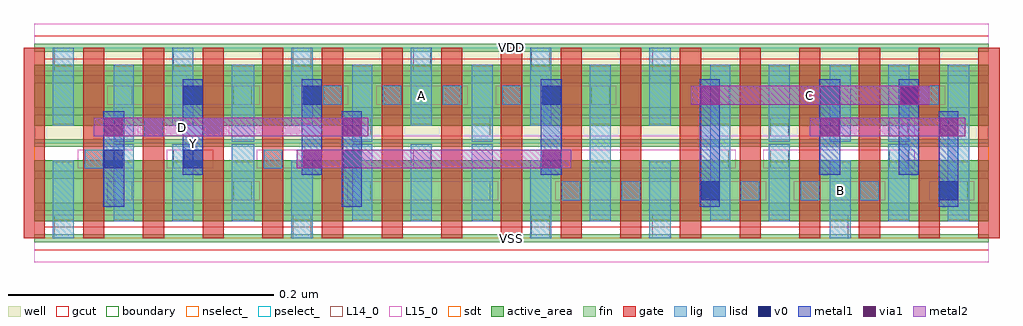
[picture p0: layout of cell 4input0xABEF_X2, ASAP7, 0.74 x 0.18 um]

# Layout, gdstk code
import gdstk
lib = gdstk.Library(unit=1e-6, precision=1e-09)
def R(c, l, rs):  # rectangles x0, y0, x1, y1
    for r in rs: c.add(gdstk.rectangle(r[:2], r[2:], *l))
def A(c, l, x, y, w, h, nx, ny, dx, dy):  # array of equal rectangles
    R(c, l, [(x+i*dx, y+j*dy, x+i*dx+w, y+j*dy+h) for i in range(nx) for j in range(ny)])
def P(c, l, *ps):  # polygons
    for p in ps: c.add(gdstk.Polygon(p, *l))
well = (1, 0)
fin = (2, 0)
gate = (7, 0)
gcut = (10, 0)
active_area = (11, 0)
nselect_ = (12, 0)
pselect_ = (13, 0)
L14_0 = (14, 0)
L15_0 = (15, 0)
lig = (16, 0)
lisd = (17, 0)
v0 = (18, 0)
metal1 = (19, 0)
metal2 = (20, 0)
via1 = (21, 0)
sdt = (88, 0)
boundary = (100, 0)

c_4input0xabef_x2 = lib.new_cell('4input0xABEF_X2')
R(c_4input0xabef_x2, well, [(0,0.072,0.72,0.144)])
A(c_4input0xabef_x2, fin, 0, -0.003, 0.72, 0.006, 1, 7, 0, 0.024)
A(c_4input0xabef_x2, gate, -0.008, 0, 0.016, 0.144, 17, 1, 0.045, 0)
P(c_4input0xabef_x2, gcut, [(0,-0.009),(0,0),(-0.008,0),(-0.008,0.135),(0.008,0.135),(0.008,0.009),(0.487,0.009),(0.487,0.135),(0.503,0.135),(0.503,0.009),(0.712,0.009),(0.712,0.135),(-0.008,0.135),(-0.008,0.144),(0,0.144),(0,0.153),(0.72,0.153),(0.72,0.144),(0.728,0.144),(0.728,0),(0.72,0),(0.72,-0.009)])
R(c_4input0xabef_x2, active_area, [(0,0.013,0.72,0.059), (0,0.085,0.72,0.131)])
R(c_4input0xabef_x2, nselect_, [(0,0,0.72,0.072)])
R(c_4input0xabef_x2, pselect_, [(0,0.072,0.72,0.144)])
A(c_4input0xabef_x2, L14_0, 0.06, 0.029, 0.014, 0.014, 4, 1, 0.09, 0)
A(c_4input0xabef_x2, L14_0, 0.533, 0.029, 0.014, 0.014, 3, 1, 0.045, 0)
A(c_4input0xabef_x2, L14_0, 0.218, 0.101, 0.014, 0.014, 4, 1, 0.045, 0)
A(c_4input0xabef_x2, L14_0, 0.42, 0.101, 0.014, 0.014, 3, 1, 0.09, 0)
R(c_4input0xabef_x2, L14_0, [(0.015,0,0.03,0.018), (0.195,0,0.209,0.018), (0.375,0,0.389,0.018), (0.466,0,0.48,0.018), (0.6,0,0.614,0.018), (0.398,0.029,0.412,0.043), (0.443,0.029,0.457,0.043), (0.69,0.029,0.704,0.043), (0.038,0.053,0.052,0.067), (0.105,0.053,0.12,0.067), (0.173,0.053,0.187,0.067), (0.286,0.053,0.299,0.067), (0.51,0.053,0.524,0.067), (0.555,0.053,0.569,0.067), (0.645,0.053,0.659,0.067), (0.083,0.077,0.097,0.091), (0.128,0.077,0.142,0.091), (0.24,0.077,0.254,0.091), (0.33,0.077,0.344,0.091), (0.555,0.077,0.569,0.091), (0.645,0.077,0.659,0.091), (0.06,0.101,0.074,0.115), (0.15,0.101,0.164,0.115), (0.668,0.101,0.682,0.115), (0.015,0.126,0.03,0.144), (0.105,0.126,0.12,0.144), (0.195,0.126,0.209,0.144), (0.286,0.126,0.299,0.144), (0.375,0.126,0.389,0.144), (0.466,0.126,0.48,0.144)])
R(c_4input0xabef_x2, L15_0, [(0,-0.018,0.72,0.018), (0.055,0.029,0.17,0.043), (0.236,0.029,0.35,0.043), (0.393,0.029,0.552,0.043), (0.573,0.029,0.642,0.043), (0.675,0.029,0.709,0.043), (0.033,0.053,0.075,0.067), (0.1,0.053,0.135,0.067), (0.168,0.053,0.529,0.067), (0.55,0.053,0.664,0.067), (0.078,0.077,0.147,0.091), (0.236,0.077,0.664,0.091), (0.055,0.101,0.17,0.115), (0.195,0.101,0.237,0.115), (0.258,0.101,0.327,0.115), (0.348,0.101,0.439,0.115), (0.506,0.101,0.62,0.115), (0.645,0.101,0.687,0.115), (0,0.126,0.72,0.162)])
A(c_4input0xabef_x2, lig, 0.533, 0.029, 0.014, 0.014, 3, 1, 0.045, 0)
A(c_4input0xabef_x2, lig, 0.218, 0.101, 0.014, 0.014, 4, 1, 0.045, 0)
R(c_4input0xabef_x2, lig, [(0.398,0.029,0.412,0.043), (0.443,0.029,0.457,0.043), (0.038,0.053,0.052,0.067), (0.173,0.053,0.187,0.067), (0.083,0.077,0.097,0.091), (0.128,0.077,0.142,0.091), (0.668,0.101,0.682,0.115)])
A(c_4input0xabef_x2, lisd, 0.014, 0, 0.016, 0.059, 3, 1, 0.18, 0)
A(c_4input0xabef_x2, lisd, 0.014, 0.085, 0.016, 0.059, 6, 1, 0.09, 0)
R(c_4input0xabef_x2, lisd, [(0.464,0,0.48,0.059), (0.6,0,0.616,0.059), (0.06,0.013,0.075,0.071), (0.104,0.013,0.12,0.071), (0.149,0.013,0.166,0.071), (0.24,0.013,0.255,0.071), (0.284,0.013,0.3,0.071), (0.33,0.013,0.346,0.071), (0.419,0.013,0.435,0.131), (0.51,0.013,0.525,0.131), (0.554,0.013,0.57,0.071), (0.644,0.013,0.66,0.071), (0.689,0.013,0.705,0.131), (0.06,0.073,0.075,0.131), (0.149,0.073,0.166,0.131), (0.24,0.073,0.255,0.131), (0.33,0.073,0.346,0.131), (0.554,0.073,0.57,0.131), (0.6,0.073,0.616,0.131), (0.644,0.073,0.66,0.131)])
R(c_4input0xabef_x2, v0, [(0.503,0.029,0.517,0.043), (0.683,0.029,0.697,0.043), (0.053,0.053,0.067,0.067), (0.113,0.053,0.127,0.067), (0.233,0.053,0.247,0.067), (0.113,0.101,0.127,0.115), (0.203,0.101,0.217,0.115), (0.383,0.101,0.397,0.115), (0.593,0.101,0.607,0.115), (0.653,0.101,0.667,0.115)])
R(c_4input0xabef_x2, metal1, [(0.052,0.024,0.068,0.096), (0.232,0.024,0.247,0.096), (0.502,0.024,0.517,0.12), (0.682,0.024,0.697,0.096), (0.112,0.048,0.127,0.12), (0.202,0.048,0.217,0.12), (0.382,0.048,0.398,0.12), (0.592,0.048,0.608,0.12), (0.652,0.048,0.667,0.12)])
R(c_4input0xabef_x2, metal2, [(0.198,0.053,0.405,0.067), (0.045,0.077,0.252,0.091), (0.585,0.077,0.702,0.091), (0.495,0.101,0.675,0.115)])
R(c_4input0xabef_x2, via1, [(0.203,0.053,0.217,0.067), (0.383,0.053,0.397,0.067), (0.053,0.077,0.067,0.091), (0.233,0.077,0.247,0.091), (0.593,0.077,0.607,0.091), (0.683,0.077,0.697,0.091), (0.503,0.101,0.517,0.115), (0.653,0.101,0.667,0.115)])
A(c_4input0xabef_x2, sdt, 0.014, 0.014, 0.016, 0.044, 4, 2, 0.09, 0.072)
A(c_4input0xabef_x2, sdt, 0.374, 0.014, 0.016, 0.044, 3, 2, 0.045, 0.072)
R(c_4input0xabef_x2, sdt, [(0.06,0.014,0.075,0.058), (0.149,0.014,0.166,0.058), (0.24,0.014,0.255,0.058), (0.33,0.014,0.346,0.058), (0.51,0.014,0.525,0.058), (0.554,0.014,0.57,0.058), (0.6,0.014,0.616,0.058), (0.644,0.014,0.66,0.058), (0.689,0.014,0.705,0.058), (0.06,0.086,0.075,0.13), (0.149,0.086,0.166,0.13), (0.24,0.086,0.255,0.13), (0.33,0.086,0.346,0.13), (0.51,0.086,0.525,0.13), (0.554,0.086,0.57,0.13), (0.6,0.086,0.616,0.13), (0.644,0.086,0.66,0.13), (0.689,0.086,0.705,0.13)])
R(c_4input0xabef_x2, boundary, [(0,0,0.72,0.144)])
c_4input0xabef_x2.add(gdstk.Label('VSS', (0.36,0), layer=15, texttype=251))
c_4input0xabef_x2.add(gdstk.Label('VDD', (0.36,0.144), layer=15, texttype=251))
c_4input0xabef_x2.add(gdstk.Label('A', (0.292,0.108), layer=15, texttype=251))
c_4input0xabef_x2.add(gdstk.Label('VSS', (0.36,0), layer=15, texttype=251))
c_4input0xabef_x2.add(gdstk.Label('VDD', (0.36,0.144), layer=15, texttype=251))
c_4input0xabef_x2.add(gdstk.Label('B', (0.608,0.036), layer=15, texttype=251))
c_4input0xabef_x2.add(gdstk.Label('VSS', (0.36,0), layer=15, texttype=251))
c_4input0xabef_x2.add(gdstk.Label('VDD', (0.36,0.144), layer=15, texttype=251))
c_4input0xabef_x2.add(gdstk.Label('VSS', (0.36,0), layer=15, texttype=251))
c_4input0xabef_x2.add(gdstk.Label('VDD', (0.36,0.144), layer=15, texttype=251))
c_4input0xabef_x2.add(gdstk.Label('D', (0.112,0.084), layer=15, texttype=251))
c_4input0xabef_x2.add(gdstk.Label('VSS', (0.36,0), layer=15, texttype=251))
c_4input0xabef_x2.add(gdstk.Label('VDD', (0.36,0.144), layer=15, texttype=251))
c_4input0xabef_x2.add(gdstk.Label('C', (0.585,0.108), layer=20, texttype=251))
c_4input0xabef_x2.add(gdstk.Label('Y', (0.12,0.072), layer=19, texttype=251))
c_4input0xabef_x2.add(gdstk.Label('VSS', (0.36,0), layer=3, texttype=251))
c_4input0xabef_x2.add(gdstk.Label('VSS', (0.36,0), layer=3, texttype=251))
c_4input0xabef_x2.add(gdstk.Label('VSS', (0.36,0), layer=3, texttype=251))
c_4input0xabef_x2.add(gdstk.Label('VSS', (0.36,0), layer=3, texttype=251))
c_4input0xabef_x2.add(gdstk.Label('VSS', (0.36,0), layer=3, texttype=251))
c_4input0xabef_x2.add(gdstk.Label('VDD', (0.36,0.144), layer=1, texttype=251))
c_4input0xabef_x2.add(gdstk.Label('VDD', (0.36,0.144), layer=1, texttype=251))
c_4input0xabef_x2.add(gdstk.Label('VDD', (0.36,0.144), layer=1, texttype=251))
c_4input0xabef_x2.add(gdstk.Label('VDD', (0.36,0.144), layer=1, texttype=251))
c_4input0xabef_x2.add(gdstk.Label('VDD', (0.36,0.144), layer=1, texttype=251))

lib.write_gds('4input0xABEF_X2.gds')
